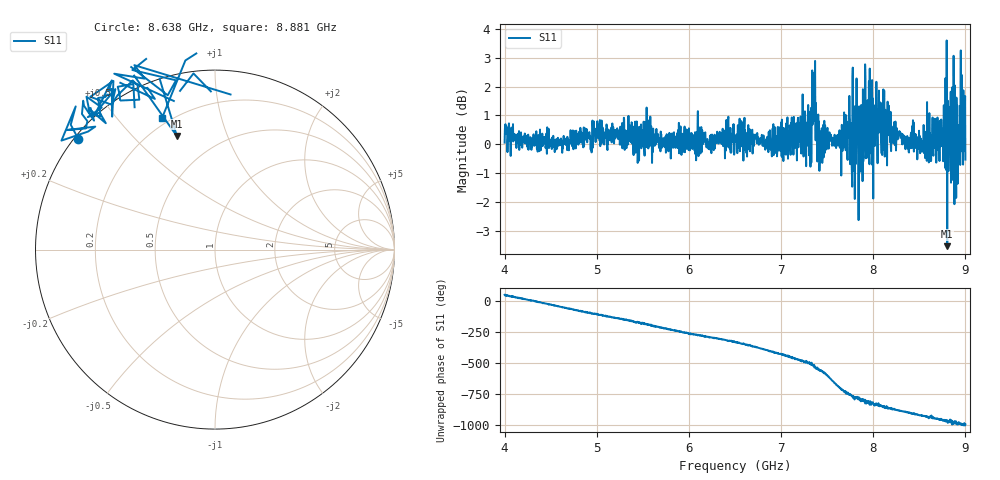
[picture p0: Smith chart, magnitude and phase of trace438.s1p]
! Created with skrf 1.8.0 (http://scikit-rf.org).
# Hz S RI R 50.0
!freq ReS11 ImS11
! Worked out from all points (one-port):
!   1601 points, 4 GHz to 9 GHz, reference 50 ohm
!   lowest |S11| = -3.5 dB at 8.803 GHz (marker M1), VSWR 5.02, Z = 14.8 + j33.8 ohm
!   |S11| at or under -10 dB: nowhere
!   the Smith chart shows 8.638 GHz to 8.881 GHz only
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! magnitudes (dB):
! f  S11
! 4 GHz  0.1
! 4.625 GHz  -0.3
! 5.25 GHz  0.0
! 5.875 GHz  0.0
! 6.5 GHz  0.2
! 7.125 GHz  0.3
! 7.297 GHz  0.8
! 7.359 GHz  2.5
! 7.384 GHz  0.9
! 7.397 GHz  0.7
! 7.438 GHz  0.0
! 7.478 GHz  0.7
! 7.75 GHz  -0.7
! 7.775 GHz  2.3
! 7.8 GHz  -1.9
! 7.816 GHz  0.2
! 7.928 GHz  0.2
! 7.981 GHz  -0.1
! 8.053 GHz  1.2
! 8.066 GHz  0.4
! 8.375 GHz  -0.1
! 8.428 GHz  0.4
! 8.556 GHz  0.0
! 8.803 GHz  -3.5
! 8.85 GHz  0.3
! 8.919 GHz  -1.0
! 8.972 GHz  0.4
! 9 GHz  -0.5
